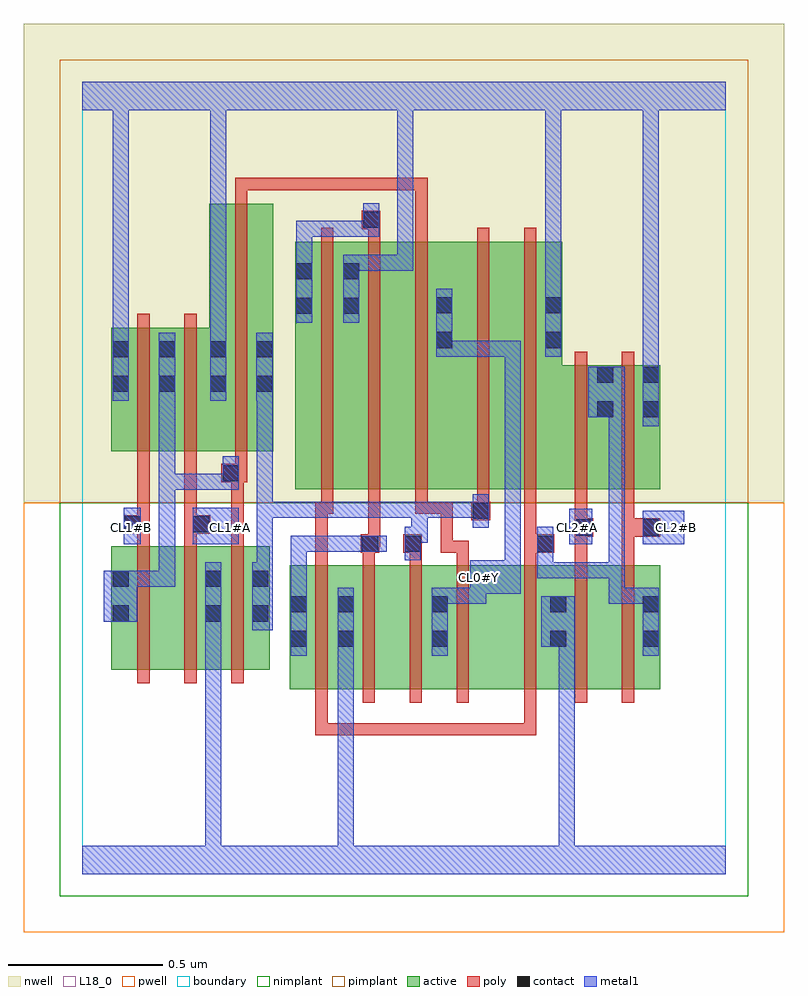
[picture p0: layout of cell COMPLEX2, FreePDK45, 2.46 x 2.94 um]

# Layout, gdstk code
import gdstk
lib = gdstk.Library(unit=1e-6, precision=1e-09)
def R(c, l, rs):  # rectangles x0, y0, x1, y1
    for r in rs: c.add(gdstk.rectangle(r[:2], r[2:], *l))
def A(c, l, x, y, w, h, nx, ny, dx, dy):  # array of equal rectangles
    R(c, l, [(x+i*dx, y+j*dy, x+i*dx+w, y+j*dy+h) for i in range(nx) for j in range(ny)])
active = (1, 0)
pwell = (2, 0)
nwell = (3, 0)
nimplant = (4, 0)
pimplant = (5, 0)
poly = (9, 0)
contact = (10, 0)
metal1 = (11, 0)
L18_0 = (18, 0)
boundary = (235, 0)

complex2 = lib.new_cell('COMPLEX2')
R(complex2, active, [(0.67,0.598,0.73,0.998), (0.67,0.598,0.882,0.998), (0.822,0.598,1.002,0.998), (0.822,0.598,0.882,0.902), (1.002,0.598,1.186,0.998), (1.126,0.598,1.306,0.998), (1.126,0.598,1.186,0.902), (1.306,0.598,1.568,0.998), (1.508,0.598,1.688,0.998), (1.508,0.598,1.568,0.902), (1.688,0.598,1.868,0.998), (1.808,0.598,1.868,0.998), (0.094,0.66,0.274,1.06), (0.274,0.66,0.454,1.06), (0.394,0.66,0.606,1.06), (0.094,0.756,0.154,1.06), (0.394,0.756,0.454,1.06), (0.546,0.756,0.606,1.06), (0.688,1.244,0.748,2.044), (0.688,1.244,0.9,2.044), (0.84,1.244,0.9,2.044), (0.84,1.244,1.02,2.044), (1.02,1.244,1.2,2.044), (1.14,1.244,1.2,2.044), (1.14,1.244,1.372,2.044), (1.372,1.244,1.552,2.044), (1.492,1.244,1.72,1.644), (1.492,1.244,1.552,2.044), (1.66,1.244,1.72,1.644), (1.66,1.244,1.868,1.644), (1.808,1.244,1.868,1.644), (0.094,1.366,0.154,1.766), (0.094,1.366,0.304,1.766), (0.244,1.366,0.47,1.766), (0.244,1.366,0.304,1.726), (0.41,1.366,0.47,2.166), (0.41,1.366,0.618,2.166), (0.558,1.366,0.618,2.044)])
R(complex2, pwell, [(-0.188,-0.188,2.268,1.2)])
R(complex2, nwell, [(-0.188,1.2,2.268,2.748)])
R(complex2, nimplant, [(-0.072,-0.072,2.152,1.2)])
R(complex2, pimplant, [(-0.072,1.2,2.152,2.632)])
A(complex2, poly, 0.754, 0.448, 0.04, 0.04, 3, 1, 0.106, 0)
A(complex2, poly, 0.754, 0.554, 0.04, 0.488, 4, 1, 0.152, 0)
A(complex2, poly, 0.178, 0.616, 0.04, 0.488, 3, 1, 0.152, 0)
A(complex2, poly, 0.906, 1.002, 0.04, 0.076, 3, 1, 0.152, 0)
A(complex2, poly, 0.772, 1.2, 0.04, 0.888, 3, 1, 0.152, 0)
R(complex2, poly, [(0.754,0.448,0.794,0.488), (0.754,0.448,0.794,0.488), (0.754,0.448,0.794,0.594), (0.754,0.448,0.9,0.488), (0.86,0.448,1.006,0.488), (0.966,0.448,1.006,0.488), (0.966,0.448,1.006,0.488), (0.966,0.448,1.362,0.488), (1.322,0.448,1.362,0.488), (1.322,0.448,1.362,0.488), (1.322,0.448,1.362,0.488), (1.322,0.448,1.468,0.488), (1.428,0.448,1.468,0.488), (1.428,0.448,1.468,0.488), (1.428,0.448,1.468,0.488), (1.428,0.448,1.468,0.594), (1.428,0.554,1.468,1.042), (1.592,0.554,1.632,1.042), (1.744,0.554,1.784,1.042), (0.754,1.002,0.794,1.204), (1.428,1.002,1.468,1.078), (1.592,1.002,1.632,1.13), (1.744,1.002,1.784,1.13), (0.9,1.038,0.96,1.098), (1.038,1.038,1.098,1.098), (1.158,1.038,1.198,1.078), (1.158,1.038,1.25,1.078), (1.158,1.038,1.198,1.204), (1.21,1.038,1.25,1.078), (1.428,1.038,1.526,1.098), (0.92,1.058,0.96,1.098), (0.92,1.058,0.964,1.098), (0.924,1.058,0.964,1.24), (1.428,1.058,1.468,1.098), (1.428,1.058,1.468,1.098), (1.428,1.058,1.468,1.24), (0.178,1.064,0.218,1.14), (0.33,1.064,0.37,1.14), (0.482,1.064,0.522,1.306), (1.592,1.09,1.632,1.13), (1.592,1.09,1.632,1.13), (1.592,1.09,1.652,1.15), (1.744,1.09,1.868,1.15), (0.134,1.1,0.218,1.16), (0.178,1.1,0.218,1.14), (0.178,1.1,0.218,1.14), (0.33,1.1,0.414,1.16), (1.592,1.11,1.632,1.24), (1.744,1.11,1.784,1.24), (1.744,1.11,1.784,1.15), (1.744,1.11,1.784,1.15), (0.178,1.12,0.218,1.362), (0.33,1.12,0.37,1.16), (0.33,1.12,0.37,1.16), (0.33,1.12,0.37,1.362), (1.258,1.144,1.318,1.204), (0.754,1.164,0.794,1.204), (0.754,1.164,0.794,1.204), (0.754,1.164,0.812,1.204), (0.772,1.164,0.812,1.24), (1.076,1.164,1.116,1.204), (1.076,1.164,1.116,1.24), (1.076,1.164,1.198,1.204), (1.158,1.164,1.198,1.204), (1.276,1.164,1.316,1.24), (1.276,1.2,1.316,2.088), (1.428,1.2,1.468,2.088), (1.592,1.2,1.632,1.688), (1.744,1.2,1.784,1.688), (0.45,1.266,0.534,1.326), (0.482,1.266,0.522,1.306), (0.482,1.266,0.522,1.306), (0.494,1.286,0.534,1.362), (0.178,1.322,0.218,1.81), (0.33,1.322,0.37,1.81), (0.494,1.322,0.534,2.21), (0.924,2.048,0.964,2.124), (1.076,2.048,1.116,2.25), (0.904,2.084,0.964,2.144), (0.494,2.17,0.534,2.25), (0.494,2.21,0.534,2.25), (0.494,2.21,0.688,2.25), (0.648,2.21,0.688,2.25), (0.648,2.21,0.688,2.25), (0.648,2.21,0.688,2.25), (0.648,2.21,0.794,2.25), (0.754,2.21,0.794,2.25), (0.754,2.21,0.794,2.25), (0.754,2.21,0.794,2.25), (0.754,2.21,0.794,2.25), (0.754,2.21,0.794,2.25), (0.754,2.21,0.9,2.25), (0.86,2.21,0.9,2.25), (0.86,2.21,0.918,2.25), (0.878,2.21,0.918,2.25), (0.878,2.21,1.116,2.25), (1.076,2.21,1.116,2.25), (1.076,2.21,1.116,2.25), (1.076,2.21,1.116,2.25)])
R(complex2, contact, [(0.674,0.734,0.726,0.786), (0.826,0.734,0.878,0.786), (1.13,0.734,1.182,0.786), (1.512,0.734,1.564,0.786), (1.812,0.734,1.864,0.786), (0.098,0.816,0.15,0.868), (0.398,0.816,0.45,0.868), (0.55,0.816,0.602,0.868), (0.674,0.846,0.726,0.898), (0.826,0.846,0.878,0.898), (1.13,0.846,1.182,0.898), (1.512,0.846,1.564,0.898), (1.812,0.846,1.864,0.898), (0.098,0.928,0.15,0.98), (0.398,0.928,0.45,0.98), (0.55,0.928,0.602,0.98), (0.904,1.042,0.956,1.094), (1.042,1.042,1.094,1.094), (1.47,1.042,1.522,1.094), (1.596,1.094,1.648,1.146), (1.812,1.094,1.864,1.146), (0.138,1.104,0.19,1.156), (0.358,1.104,0.41,1.156), (1.262,1.148,1.314,1.2), (0.454,1.27,0.506,1.322), (1.664,1.476,1.716,1.528), (1.812,1.476,1.864,1.528), (0.098,1.558,0.15,1.61), (0.248,1.558,0.3,1.61), (0.414,1.558,0.466,1.61), (0.562,1.558,0.614,1.61), (1.664,1.588,1.716,1.64), (1.812,1.588,1.864,1.64), (0.098,1.67,0.15,1.722), (0.248,1.67,0.3,1.722), (0.414,1.67,0.466,1.722), (0.562,1.67,0.614,1.722), (1.144,1.7,1.196,1.752), (1.496,1.7,1.548,1.752), (0.692,1.81,0.744,1.862), (0.844,1.81,0.896,1.862), (1.144,1.812,1.196,1.864), (1.496,1.812,1.548,1.864), (0.692,1.922,0.744,1.974), (0.844,1.922,0.896,1.974), (0.908,2.088,0.96,2.14)])
A(complex2, metal1, 0.844, 1.152, 0.052, 0.052, 3, 1, 0.11, 0)
R(complex2, metal1, [(0,0,2.08,0.092), (0.398,0.04,0.45,0.84), (0.826,0.04,0.878,0.758), (1.54,0.04,1.592,0.092), (1.54,0.04,1.592,0.092), (1.54,0.04,1.592,0.092), (1.54,0.04,1.592,0.092), (1.54,0.04,1.592,0.786), (0.674,0.706,0.726,0.926), (0.826,0.706,0.878,0.758), (0.826,0.706,0.878,0.758), (0.826,0.706,0.878,0.758), (0.826,0.706,0.878,0.758), (0.826,0.706,0.878,0.758), (0.826,0.706,0.878,0.758), (0.826,0.706,0.878,0.758), (0.826,0.706,0.878,0.758), (0.826,0.706,0.878,0.758), (0.826,0.706,0.878,0.758), (0.826,0.706,0.878,0.758), (0.826,0.706,0.878,0.758), (0.826,0.706,0.878,0.926), (1.13,0.706,1.182,0.926), (1.812,0.706,1.864,0.926), (1.484,0.734,1.592,0.898), (1.54,0.734,1.592,0.786), (1.54,0.734,1.592,0.786), (1.54,0.734,1.592,0.786), (1.54,0.734,1.592,0.786), (1.54,0.734,1.592,0.786), (1.54,0.734,1.592,0.786), (1.54,0.734,1.592,0.786), (1.54,0.734,1.592,0.786), (0.398,0.788,0.45,0.84), (0.398,0.788,0.45,0.84), (0.398,0.788,0.45,0.84), (0.398,0.788,0.45,0.84), (0.398,0.788,0.45,0.84), (0.398,0.788,0.45,0.84), (0.398,0.788,0.45,0.84), (0.398,0.788,0.45,0.84), (0.398,0.788,0.45,0.84), (0.398,0.788,0.45,0.84), (0.398,0.788,0.45,0.84), (0.398,0.788,0.45,0.84), (0.398,0.788,0.45,1.008), (0.55,0.788,0.616,1.008), (0.07,0.816,0.178,0.98), (0.674,0.874,0.726,1.094), (1.13,0.874,1.306,0.926), (1.254,0.874,1.306,0.926), (1.254,0.874,1.306,0.926), (1.254,0.874,1.306,0.926), (1.254,0.874,1.306,0.958), (1.702,0.874,1.754,0.926), (1.702,0.874,1.864,0.926), (1.702,0.874,1.754,1.008), (1.812,0.874,1.864,0.926), (1.812,0.874,1.864,0.926), (1.254,0.906,1.418,1.014), (0.126,0.928,0.178,0.98), (0.126,0.928,0.178,0.98), (0.126,0.928,0.178,0.98), (0.126,0.928,0.178,0.98), (0.126,0.928,0.3,0.98), (0.248,0.928,0.3,0.98), (0.248,0.928,0.3,1.294), (0.564,0.956,0.616,1.204), (1.47,0.956,1.754,1.008), (1.47,0.956,1.522,1.066), (1.702,0.956,1.754,1.008), (1.702,0.956,1.754,1.008), (1.702,0.956,1.754,1.008), (1.702,0.956,1.754,1.528), (1.366,0.962,1.418,1.724), (1.042,1.014,1.094,1.122), (1.47,1.014,1.522,1.066), (1.47,1.014,1.522,1.122), (0.674,1.042,0.726,1.094), (0.674,1.042,0.726,1.094), (0.674,1.042,0.726,1.094), (0.674,1.042,0.854,1.094), (0.802,1.042,0.854,1.094), (0.802,1.042,0.928,1.094), (0.876,1.042,0.984,1.094), (0.134,1.066,0.19,1.184), (0.358,1.066,0.506,1.184), (1.574,1.066,1.648,1.18), (1.812,1.066,1.946,1.174), (1.042,1.07,1.116,1.122), (1.064,1.07,1.116,1.122), (1.064,1.07,1.116,1.204), (1.262,1.12,1.314,1.228), (0.564,1.152,0.616,1.204), (0.564,1.152,0.616,1.204), (0.564,1.152,0.616,1.204), (0.564,1.152,0.744,1.204), (0.564,1.152,0.616,1.582), (0.692,1.152,0.744,1.204), (0.692,1.152,0.744,1.204), (0.692,1.152,0.744,1.204), (0.692,1.152,0.896,1.204), (0.844,1.152,0.896,1.204), (0.844,1.152,0.896,1.204), (0.844,1.152,1.006,1.204), (0.954,1.152,1.116,1.204), (1.064,1.152,1.116,1.204), (1.064,1.152,1.116,1.204), (1.064,1.152,1.314,1.204), (0.248,1.242,0.3,1.294), (0.248,1.242,0.3,1.294), (0.248,1.242,0.3,1.294), (0.248,1.242,0.41,1.294), (0.248,1.242,0.3,1.582), (0.358,1.242,0.41,1.294), (0.358,1.242,0.506,1.294), (0.454,1.242,0.506,1.35), (1.812,1.448,1.864,1.668), (1.636,1.476,1.754,1.64), (1.702,1.476,1.754,1.528), (1.702,1.476,1.754,1.528), (0.098,1.53,0.15,1.75), (0.248,1.53,0.3,1.75), (0.414,1.53,0.466,1.75), (0.562,1.53,0.616,1.75), (1.812,1.616,1.864,2.52), (1.812,1.616,1.864,1.668), (1.812,1.616,1.864,1.668), (1.812,1.616,1.864,1.668), (1.812,1.616,1.864,1.668), (1.812,1.616,1.864,1.668), (1.812,1.616,1.864,1.668), (1.812,1.616,1.864,1.668), (1.812,1.616,1.864,1.668), (1.812,1.616,1.864,1.668), (1.812,1.616,1.864,1.668), (1.812,1.616,1.864,1.668), (1.812,1.616,1.864,1.668), (1.812,1.616,1.864,1.668), (1.812,1.616,1.864,1.668), (1.144,1.672,1.196,1.892), (1.144,1.672,1.412,1.724), (1.36,1.672,1.412,1.724), (1.36,1.672,1.418,1.724), (1.366,1.672,1.418,1.724), (1.366,1.672,1.418,1.724), (1.366,1.672,1.418,1.724), (1.496,1.672,1.548,1.892), (0.098,1.698,0.15,1.75), (0.098,1.698,0.15,1.75), (0.098,1.698,0.15,1.75), (0.098,1.698,0.15,1.75), (0.098,1.698,0.15,1.75), (0.098,1.698,0.15,1.75), (0.098,1.698,0.15,1.75), (0.098,1.698,0.15,1.75), (0.098,1.698,0.15,1.75), (0.098,1.698,0.15,1.75), (0.098,1.698,0.15,1.75), (0.098,1.698,0.15,1.75), (0.098,1.698,0.15,1.75), (0.098,1.698,0.15,1.75), (0.098,1.698,0.15,1.75), (0.098,1.698,0.15,1.75), (0.098,1.698,0.15,2.52), (0.414,1.698,0.466,1.75), (0.414,1.698,0.466,1.75), (0.414,1.698,0.466,2.52), (0.692,1.782,0.744,2.002), (0.844,1.782,0.896,2.002), (1.496,1.84,1.548,1.892), (1.496,1.84,1.548,1.892), (1.496,1.84,1.548,1.892), (1.496,1.84,1.548,1.892), (1.496,1.84,1.548,1.892), (1.496,1.84,1.548,1.892), (1.496,1.84,1.548,1.892), (1.496,1.84,1.548,1.892), (1.496,1.84,1.548,2.52), (0.692,1.95,0.744,2.112), (0.844,1.95,0.896,2.002), (0.844,1.95,0.896,2.002), (0.844,1.95,1.07,2.002), (1.018,1.95,1.07,2.002), (1.018,1.95,1.07,2.002), (1.018,1.95,1.07,2.002), (1.018,1.95,1.07,2.52), (0.692,2.06,0.744,2.112), (0.692,2.06,0.744,2.112), (0.692,2.06,0.744,2.112), (0.692,2.06,0.896,2.112), (0.844,2.06,0.896,2.112), (0.844,2.06,0.96,2.112), (0.908,2.06,0.96,2.168), (0,2.468,2.08,2.56), (0.414,2.468,0.466,2.52), (0.414,2.468,0.466,2.52), (0.414,2.468,0.466,2.52), (0.414,2.468,0.466,2.52), (0.414,2.468,0.466,2.52), (0.414,2.468,0.466,2.52), (1.018,2.468,1.07,2.52), (1.018,2.468,1.07,2.52), (1.018,2.468,1.07,2.52), (1.018,2.468,1.07,2.52), (1.018,2.468,1.07,2.52), (1.018,2.468,1.07,2.52), (1.812,2.468,1.864,2.52), (1.812,2.468,1.864,2.52)])
R(complex2, L18_0, [(0,0,2.08,0.092), (0.398,0.04,0.45,0.84), (0.826,0.04,0.878,0.758), (1.54,0.04,1.592,0.092), (1.54,0.04,1.592,0.092), (1.54,0.04,1.592,0.092), (1.54,0.04,1.592,0.092), (1.54,0.04,1.592,0.786), (0.826,0.706,0.878,0.926), (0.826,0.706,0.878,0.758), (0.826,0.706,0.878,0.758), (0.826,0.706,0.878,0.758), (0.826,0.706,0.878,0.758), (0.826,0.706,0.878,0.758), (0.826,0.706,0.878,0.758), (0.826,0.706,0.878,0.758), (0.826,0.706,0.878,0.758), (0.826,0.706,0.878,0.758), (0.826,0.706,0.878,0.758), (0.826,0.706,0.878,0.758), (0.826,0.706,0.878,0.758), (1.13,0.706,1.182,0.926), (1.484,0.734,1.592,0.898), (1.54,0.734,1.592,0.786), (1.54,0.734,1.592,0.786), (1.54,0.734,1.592,0.786), (1.54,0.734,1.592,0.786), (1.54,0.734,1.592,0.786), (1.54,0.734,1.592,0.786), (1.54,0.734,1.592,0.786), (1.54,0.734,1.592,0.786), (0.398,0.788,0.45,1.008), (0.398,0.788,0.45,0.84), (0.398,0.788,0.45,0.84), (0.398,0.788,0.45,0.84), (0.398,0.788,0.45,0.84), (0.398,0.788,0.45,0.84), (0.398,0.788,0.45,0.84), (0.398,0.788,0.45,0.84), (0.398,0.788,0.45,0.84), (0.398,0.788,0.45,0.84), (0.398,0.788,0.45,0.84), (0.398,0.788,0.45,0.84), (0.398,0.788,0.45,0.84), (1.13,0.874,1.306,0.926), (1.254,0.874,1.306,0.926), (1.254,0.874,1.306,0.926), (1.254,0.874,1.306,0.926), (1.254,0.874,1.306,0.958), (1.254,0.906,1.418,1.014), (1.254,0.934,1.306,0.986), (1.366,0.962,1.418,1.724), (0.134,1.066,0.19,1.184), (0.358,1.066,0.506,1.184), (1.574,1.066,1.648,1.18), (1.812,1.066,1.946,1.174), (0.134,1.094,0.186,1.146), (0.454,1.094,0.506,1.146), (1.574,1.094,1.626,1.146), (1.894,1.094,1.946,1.146), (1.812,1.448,1.864,1.668), (0.098,1.53,0.15,1.75), (0.414,1.53,0.466,1.75), (1.812,1.616,1.864,1.668), (1.812,1.616,1.864,1.668), (1.812,1.616,1.864,1.668), (1.812,1.616,1.864,1.668), (1.812,1.616,1.864,1.668), (1.812,1.616,1.864,1.668), (1.812,1.616,1.864,1.668), (1.812,1.616,1.864,1.668), (1.812,1.616,1.864,1.668), (1.812,1.616,1.864,1.668), (1.812,1.616,1.864,1.668), (1.812,1.616,1.864,1.668), (1.812,1.616,1.864,1.668), (1.812,1.616,1.864,1.668), (1.812,1.616,1.864,2.52), (1.144,1.672,1.196,1.892), (1.144,1.672,1.412,1.724), (1.36,1.672,1.412,1.724), (1.36,1.672,1.418,1.724), (1.366,1.672,1.418,1.724), (1.366,1.672,1.418,1.724), (1.366,1.672,1.418,1.724), (1.496,1.672,1.548,1.892), (0.098,1.698,0.15,1.75), (0.098,1.698,0.15,1.75), (0.098,1.698,0.15,1.75), (0.098,1.698,0.15,1.75), (0.098,1.698,0.15,1.75), (0.098,1.698,0.15,1.75), (0.098,1.698,0.15,1.75), (0.098,1.698,0.15,1.75), (0.098,1.698,0.15,1.75), (0.098,1.698,0.15,1.75), (0.098,1.698,0.15,1.75), (0.098,1.698,0.15,1.75), (0.098,1.698,0.15,1.75), (0.098,1.698,0.15,1.75), (0.098,1.698,0.15,1.75), (0.098,1.698,0.15,1.75), (0.098,1.698,0.15,2.52), (0.414,1.698,0.466,1.75), (0.414,1.698,0.466,1.75), (0.414,1.698,0.466,2.52), (0.844,1.782,0.896,2.002), (1.496,1.84,1.548,1.892), (1.496,1.84,1.548,1.892), (1.496,1.84,1.548,1.892), (1.496,1.84,1.548,1.892), (1.496,1.84,1.548,1.892), (1.496,1.84,1.548,1.892), (1.496,1.84,1.548,1.892), (1.496,1.84,1.548,1.892), (1.496,1.84,1.548,2.52), (0.844,1.95,0.896,2.002), (0.844,1.95,0.896,2.002), (0.844,1.95,1.07,2.002), (1.018,1.95,1.07,2.002), (1.018,1.95,1.07,2.002), (1.018,1.95,1.07,2.002), (1.018,1.95,1.07,2.52), (0,2.468,2.08,2.56), (0.414,2.468,0.466,2.52), (0.414,2.468,0.466,2.52), (0.414,2.468,0.466,2.52), (0.414,2.468,0.466,2.52), (0.414,2.468,0.466,2.52), (0.414,2.468,0.466,2.52), (1.018,2.468,1.07,2.52), (1.018,2.468,1.07,2.52), (1.018,2.468,1.07,2.52), (1.018,2.468,1.07,2.52), (1.018,2.468,1.07,2.52), (1.018,2.468,1.07,2.52), (1.812,2.468,1.864,2.52), (1.812,2.468,1.864,2.52)])
R(complex2, boundary, [(0,0,2.08,2.56)])
complex2.add(gdstk.Label('CL0#Y', (1.28,0.96), layer=11, texttype=0))
complex2.add(gdstk.Label('CL1#A', (0.48,1.12), layer=11, texttype=0))
complex2.add(gdstk.Label('CL1#B', (0.16,1.12), layer=11, texttype=0))
complex2.add(gdstk.Label('CL2#A', (1.6,1.12), layer=11, texttype=0))
complex2.add(gdstk.Label('CL2#B', (1.92,1.12), layer=11, texttype=0))

lib.write_gds('COMPLEX2.gds')
